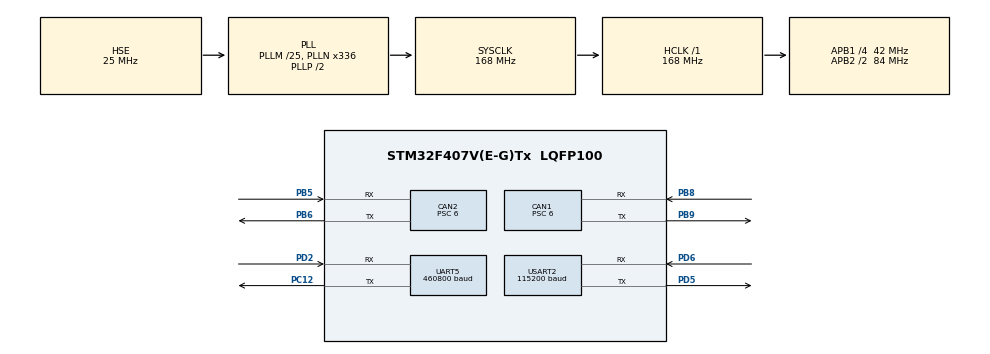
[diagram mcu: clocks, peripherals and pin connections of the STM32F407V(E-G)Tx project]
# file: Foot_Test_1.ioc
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CAN1.BS1=CAN_BS1_3TQ
CAN1.BS2=CAN_BS2_3TQ
CAN1.CalculateTimeQuantum=142.85714285714286
CAN1.Prescaler=6
CAN2.BS1=CAN_BS1_3TQ
CAN2.BS2=CAN_BS2_3TQ
CAN2.CalculateTimeQuantum=142.85714285714286
CAN2.Prescaler=6
Dma.Request0=USART2_RX
Dma.Request1=UART5_RX
Dma.UART5_RX.1.Direction=DMA_PERIPH_TO_MEMORY
Dma.UART5_RX.1.FIFOMode=DMA_FIFOMODE_DISABLE
Dma.UART5_RX.1.Instance=DMA1_Stream0
Dma.UART5_RX.1.MemDataAlignment=DMA_MDATAALIGN_BYTE
Dma.UART5_RX.1.MemInc=DMA_MINC_ENABLE
Dma.UART5_RX.1.Mode=DMA_NORMAL
Dma.UART5_RX.1.PeriphDataAlignment=DMA_PDATAALIGN_BYTE
Dma.UART5_RX.1.PeriphInc=DMA_PINC_DISABLE
Dma.UART5_RX.1.Priority=DMA_PRIORITY_LOW
Dma.USART2_RX.0.Direction=DMA_PERIPH_TO_MEMORY
Dma.USART2_RX.0.FIFOMode=DMA_FIFOMODE_DISABLE
Dma.USART2_RX.0.Instance=DMA1_Stream5
Dma.USART2_RX.0.MemDataAlignment=DMA_MDATAALIGN_BYTE
Dma.USART2_RX.0.MemInc=DMA_MINC_ENABLE
Dma.USART2_RX.0.Mode=DMA_NORMAL
Dma.USART2_RX.0.PeriphDataAlignment=DMA_PDATAALIGN_BYTE
Dma.USART2_RX.0.PeriphInc=DMA_PINC_DISABLE
Dma.USART2_RX.0.Priority=DMA_PRIORITY_LOW
Mcu.Family=STM32F4
Mcu.Name=STM32F407V(E-G)Tx
Mcu.Package=LQFP100
NVIC.CAN1_RX0_IRQn=true\:0\:0\:false\:false\:true\:true\:true
NVIC.CAN2_RX1_IRQn=true\:0\:0\:false\:false\:true\:true\:true
NVIC.DMA1_Stream5_IRQn=true\:0\:0\:false\:false\:true\:false\:true
NVIC.PriorityGroup=NVIC_PRIORITYGROUP_4
NVIC.TIM4_IRQn=true\:0\:0\:false\:false\:true\:true\:true
NVIC.TIM5_IRQn=true\:0\:0\:false\:false\:true\:true\:true
NVIC.UART5_IRQn=true\:0\:0\:false\:false\:true\:true\:false
NVIC.USART2_IRQn=true\:0\:0\:false\:false\:true\:true\:true
PA13.Mode=Serial_Wire
PA13.Signal=SYS_JTMS-SWDIO
PA14.Mode=Serial_Wire
PA14.Signal=SYS_JTCK-SWCLK
PB5.Mode=Slave
PB5.Signal=CAN2_RX
PB6.Mode=Slave
PB6.Signal=CAN2_TX
PB8.Mode=Master
PB8.Signal=CAN1_RX
PB9.Mode=Master
PB9.Signal=CAN1_TX
PC12.Mode=Asynchronous
PC12.Signal=UART5_TX
PD2.Mode=Asynchronous
PD2.Signal=UART5_RX
PD5.Mode=Asynchronous
PD5.Signal=USART2_TX
PD6.Mode=Asynchronous
PD6.Signal=USART2_RX
PH0-OSC_IN.Mode=HSE-External-Oscillator
PH0-OSC_IN.Signal=RCC_OSC_IN
PH1-OSC_OUT.Mode=HSE-External-Oscillator
PH1-OSC_OUT.Signal=RCC_OSC_OUT
ProjectManager.HeapSize=0x200
ProjectManager.StackSize=0x400
ProjectManager.TargetToolchain=MDK-ARM V5.27
RCC.48MHZClocksFreq_Value=84000000
RCC.AHBFreq_Value=168000000
RCC.APB1CLKDivider=RCC_HCLK_DIV4
RCC.APB1Freq_Value=42000000
RCC.APB1TimFreq_Value=84000000
RCC.APB2CLKDivider=RCC_HCLK_DIV2
RCC.APB2Freq_Value=84000000
RCC.APB2TimFreq_Value=168000000
RCC.CortexFreq_Value=168000000
RCC.HCLKFreq_Value=168000000
RCC.HSE_VALUE=25000000
RCC.HSI_VALUE=16000000
RCC.LSE_VALUE=32768
RCC.PLLM=25
RCC.PLLN=336
RCC.PLLSourceVirtual=RCC_PLLSOURCE_HSE
RCC.SYSCLKFreq_VALUE=168000000
RCC.SYSCLKSource=RCC_SYSCLKSOURCE_PLLCLK
RCC.VCOOutputFreq_Value=336000000
TIM4.Period=5000-1
TIM4.Prescaler=84-1
TIM5.Period=1000-1
TIM5.Prescaler=84-1
UART5.BaudRate=460800
UART5.VirtualMode=Asynchronous
USART2.BaudRate=115200
USART2.VirtualMode=VM_ASYNC
VP_TIM4_VS_ClockSourceINT.Mode=Internal
VP_TIM5_VS_ClockSourceINT.Mode=Internal
board=custom

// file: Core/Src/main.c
/* USER CODE BEGIN Header */
/**
  ******************************************************************************
  * @file           : main.c
  * @brief          : Main program body
  ******************************************************************************
  * @attention
  *
  * <h2><center>&copy; Copyright (c) 2021 STMicroelectronics.
  * All rights reserved.</center></h2>
  *
  * This software component is licensed by ST under BSD 3-Clause license,
  * the "License"; You may not use this file except in compliance with the
  * License. You may obtain a copy of the License at:
  *                        opensource.org/licenses/BSD-3-Clause
  *
  ******************************************************************************
  */
/* USER CODE END Header */
#include "main.h"
#include "can.h"
#include "dma.h"
#include "tim.h"
#include "usart.h"
#include "gpio.h"

/* USER CODE BEGIN Includes */
#include "main_core.h"
/* USER CODE END Includes */

void SystemClock_Config(void);

int main(void)
{

  /* MCU Configuration--------------------------------------------------------*/

  /* Reset of all peripherals, Initializes the Flash interface and the Systick. */
  HAL_Init();

  /* Configure the system clock */
  SystemClock_Config();

  /* Initialize all configured peripherals */
  MX_GPIO_Init();
  MX_DMA_Init();
  MX_CAN1_Init();
  MX_CAN2_Init();
  MX_TIM5_Init();
  MX_USART2_UART_Init();
  MX_TIM4_Init();
  MX_UART5_Init();
  /* USER CODE BEGIN 2 */
	for(int i=0;i<8;i++)
	{
		Motor_RM3508[i].ESC_ID = i+1;
		PID_Place_Init(&PID_Place_RM3508[i]);
		PID_Speed_Init(&PID_Speed_RM3508[i]);
	}
	Foot_Ramp_Init();
	CAN_TX_Init();
	CSYS_Init();
	Foot_Init();
	Kalman_Filter_Init();
	HAL_CAN_Start(&hcan1);
	CanFilter_Init(&hcan1);
	HAL_CAN_Start(&hcan2);
	CanFilter_Init(&hcan2);
	__HAL_CAN_ENABLE_IT(&hcan1,CAN_IT_RX_FIFO0_MSG_PENDING);
	__HAL_CAN_ENABLE_IT(&hcan2,CAN_IT_RX_FIFO1_MSG_PENDING);
	__HAL_UART_ENABLE_IT(&huart2,UART_IT_IDLE);
	HAL_UART_Receive_DMA(&huart2,&Remote_Receive_Data[21],21);
	__HAL_DMA_DISABLE_IT(huart2.hdmarx,DMA_IT_HT);
	__HAL_UART_DISABLE_IT(&huart2,(UART_IT_PE | UART_IT_ERR));
	HAL_UART_Receive_DMA(&huart5,Imu_Data,30);
	__HAL_UART_ENABLE_IT(&huart5,UART_IT_IDLE);
	__HAL_DMA_DISABLE_IT(huart5.hdmarx,DMA_IT_TC | DMA_IT_TE | DMA_IT_DME);
	__HAL_UART_DISABLE_IT(&huart5,(UART_IT_PE | UART_IT_ERR));
	HAL_TIM_Base_Start_IT(&htim5);
	HAL_TIM_Base_Start_IT(&htim4);
  /* USER CODE END 2 */

  /* Infinite loop */
  while (1)
  {

  }
}

void SystemClock_Config(void)
{
  RCC_OscInitTypeDef RCC_OscInitStruct = {0};
  RCC_ClkInitTypeDef RCC_ClkInitStruct = {0};

  /** Configure the main internal regulator output voltage
  */
  __HAL_RCC_PWR_CLK_ENABLE();
  __HAL_PWR_VOLTAGESCALING_CONFIG(PWR_REGULATOR_VOLTAGE_SCALE1);
  /** Initializes the RCC Oscillators according to the specified parameters
  * in the RCC_OscInitTypeDef structure.
  */
  RCC_OscInitStruct.OscillatorType = RCC_OSCILLATORTYPE_HSE;
  RCC_OscInitStruct.HSEState = RCC_HSE_ON;
  RCC_OscInitStruct.PLL.PLLState = RCC_PLL_ON;
  RCC_OscInitStruct.PLL.PLLSource = RCC_PLLSOURCE_HSE;
  RCC_OscInitStruct.PLL.PLLM = 25;
  RCC_OscInitStruct.PLL.PLLN = 336;
  RCC_OscInitStruct.PLL.PLLP = RCC_PLLP_DIV2;
  RCC_OscInitStruct.PLL.PLLQ = 4;
  if (HAL_RCC_OscConfig(&RCC_OscInitStruct) != HAL_OK)
  {
    Error_Handler();
  }
  /** Initializes the CPU, AHB and APB buses clocks
  */
  RCC_ClkInitStruct.ClockType = RCC_CLOCKTYPE_HCLK|RCC_CLOCKTYPE_SYSCLK
                              |RCC_CLOCKTYPE_PCLK1|RCC_CLOCKTYPE_PCLK2;
  RCC_ClkInitStruct.SYSCLKSource = RCC_SYSCLKSOURCE_PLLCLK;
  RCC_ClkInitStruct.AHBCLKDivider = RCC_SYSCLK_DIV1;
  RCC_ClkInitStruct.APB1CLKDivider = RCC_HCLK_DIV4;
  RCC_ClkInitStruct.APB2CLKDivider = RCC_HCLK_DIV2;

  if (HAL_RCC_ClockConfig(&RCC_ClkInitStruct, FLASH_LATENCY_5) != HAL_OK)
  {
    Error_Handler();
  }
}

void Error_Handler(void)
{
}

/************************ (C) COPYRIGHT STMicroelectronics *****END OF FILE****/
